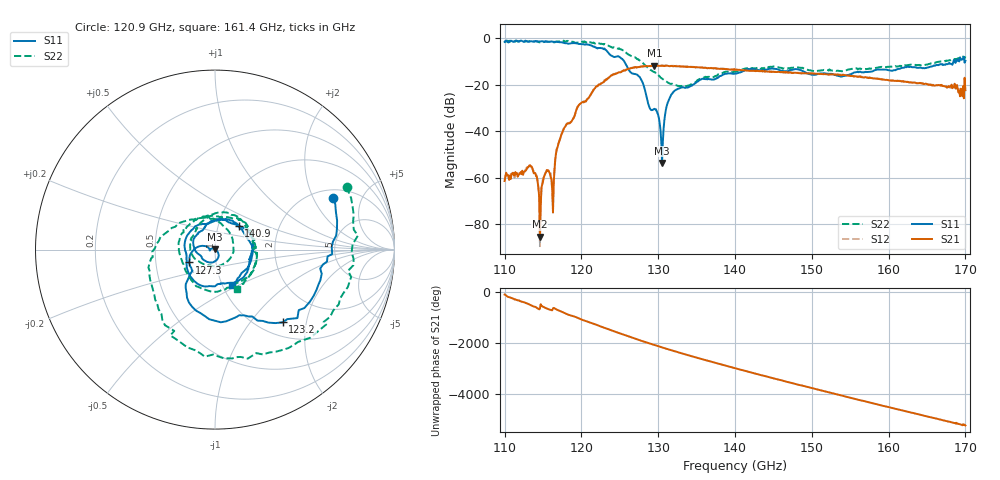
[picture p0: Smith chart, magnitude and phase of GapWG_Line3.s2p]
!Keysight Technologies,N5245B,MY49151002,A.19.00.09
!Date: Tuesday, March 11, 2025 11:31:14
!Correction: S11(C  2-Port  )
!S21(C  2-Port  )
!S12(C  2-Port  )
!S22(C  2-Port  )
!S2P File: Measurements: S11, S21, S12, S22:
# Hz S  dB  R 50
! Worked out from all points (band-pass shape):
!   601 points, 110 GHz to 170 GHz, reference 50 ohm
!   highest |S21| = -11.84 dB at 129.5 GHz (marker M1); lowest = -85.5 dB at 114.6 GHz (marker M2)
!   |S21| within 3 dB of the highest: 124.8 GHz to 146.6 GHz (21.74 GHz wide, 16 % of centre); 146.6275 GHz to 146.949 GHz (321.5 MHz wide, 0.219 % of centre)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
!   lowest |S11| = -53.7 dB at 130.5 GHz (marker M3), VSWR 1.00, Z = 50.1 + j0.177 ohm
!   |S11| at or under -10 dB: 125.6 GHz to 168.5 GHz (42.89 GHz wide, 29.2 % of centre); 168.6314 GHz to 168.7939 GHz (162.6 MHz wide, 0.0964 % of centre); 169.1838 GHz to 169.2047 GHz (20.88 MHz wide, 0.0123 % of centre)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
!   |S22| runs from -20.8 to -1.1 dB; largest |S21 - S12| = 0.066
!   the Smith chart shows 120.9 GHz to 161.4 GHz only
!   S11 on the Smith chart (normalised r, x): 120.9 GHz: 2.42, +2.88; 123.2 GHz: 1.26, -1.47; 127.3 GHz: 0.74, -0.11; 140.9 GHz: 1.26, +0.34; 161.4 GHz: 1.12, -0.46
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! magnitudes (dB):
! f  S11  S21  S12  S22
! 110 GHz  -1.7  -61.5  -61.1  -1.2
! 113.3 GHz  -1.5  -54.7  -54.8  -1.3
! 114 GHz  -1.4  -58.1  -58.0  -1.4
! 114.6 GHz  -1.5  -85.5  -89.5  -1.8
! 115.4 GHz  -1.5  -57.7  -57.6  -1.5
! 116.2 GHz  -1.6  -65.0  -65.5  -1.6
! 117.4 GHz  -1.8  -41.5  -41.4  -1.4
! 120 GHz  -2.6  -27.8  -27.8  -1.7
! 120.9 GHz  -2.9  -25.9  -25.9  -1.8
! 123.2 GHz  -5.1  -17.8  -18.1  -2.9
! 127.3 GHz  -15.8  -12.5  -12.6  -9.1
! 129.5 GHz  -30.5  -11.8  -11.9  -14.6
! 130 GHz  -33.1  -12.0  -11.8  -15.9
! 130.5 GHz  -53.7  -11.9  -11.8  -17.5
! 131.2 GHz  -28.1  -11.9  -11.9  -19.0
! 132.2 GHz  -22.5  -12.1  -12.0  -20.2
! 140 GHz  -15.3  -13.6  -13.6  -14.5
! 140.9 GHz  -14.6  -13.9  -13.7  -13.7
! 150 GHz  -15.8  -15.3  -15.2  -14.1
! 160 GHz  -13.9  -18.2  -18.1  -12.4
! 161.4 GHz  -13.2  -18.5  -18.4  -12.0
! 170 GHz  -9.8  -22.4  -22.5  -7.9
